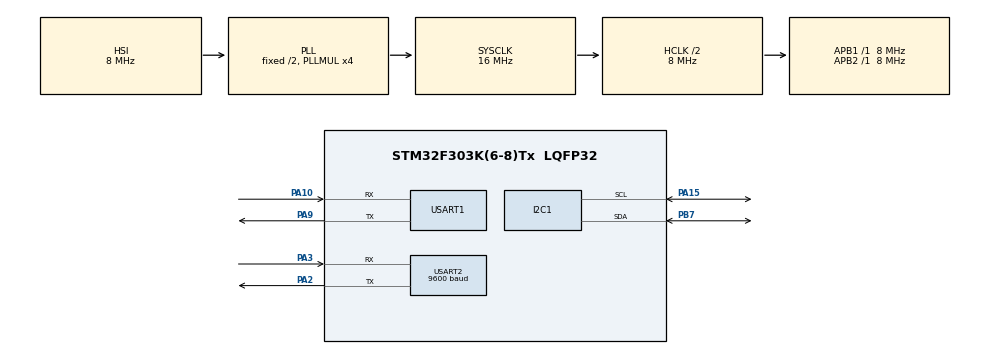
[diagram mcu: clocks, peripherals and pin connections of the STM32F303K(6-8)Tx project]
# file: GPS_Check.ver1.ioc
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Mcu.Family=STM32F3
Mcu.Name=STM32F303K(6-8)Tx
Mcu.Package=LQFP32
NVIC.PriorityGroup=NVIC_PRIORITYGROUP_4
PA0.Mode=SYS_WakeUp0
PA0.Signal=SYS_WKUP1
PA10.Mode=Asynchronous
PA10.Signal=USART1_RX
PA13.Mode=Trace_Asynchronous_SW
PA13.Signal=SYS_JTMS-SWDIO
PA14.Mode=Trace_Asynchronous_SW
PA14.Signal=SYS_JTCK-SWCLK
PA15.GPIO_Pu=GPIO_PULLUP
PA15.Mode=I2C
PA15.Signal=I2C1_SCL
PA2.Mode=Asynchronous
PA2.Signal=USART2_TX
PA3.Mode=Asynchronous
PA3.Signal=USART2_RX
PA9.Mode=Asynchronous
PA9.Signal=USART1_TX
PB3.Mode=Trace_Asynchronous_SW
PB3.Signal=SYS_JTDO-TRACESWO
PB7.GPIO_Pu=GPIO_PULLUP
PB7.Mode=I2C
PB7.Signal=I2C1_SDA
ProjectManager.HeapSize=0x200
ProjectManager.StackSize=0x400
ProjectManager.TargetToolchain=STM32CubeIDE
RCC.AHBCLKDivider=RCC_SYSCLK_DIV2
RCC.AHBFreq_Value=8000000
RCC.APB1Freq_Value=8000000
RCC.APB1TimFreq_Value=8000000
RCC.APB2Freq_Value=8000000
RCC.APB2TimFreq_Value=8000000
RCC.CortexFreq_Value=8000000
RCC.HCLKFreq_Value=8000000
RCC.HSE_VALUE=8000000
RCC.HSI_VALUE=8000000
RCC.PLLMUL=RCC_PLL_MUL4
RCC.SYSCLKFreq_VALUE=16000000
RCC.SYSCLKSourceVirtual=RCC_SYSCLKSOURCE_PLLCLK
USART1.VirtualMode-Asynchronous=VM_ASYNC
USART2.BaudRate=9600
USART2.VirtualMode-Asynchronous=VM_ASYNC
board=custom

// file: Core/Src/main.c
/* USER CODE BEGIN Header */
/**
  ******************************************************************************
  * @file           : main.c
  * @brief          : Main program body
  ******************************************************************************
  * @attention
  *
  * Copyright (c) 2024 STMicroelectronics.
  * All rights reserved.
  *
  * This software is licensed under terms that can be found in the LICENSE file
  * in the root directory of this software component.
  * If no LICENSE file comes with this software, it is provided AS-IS.
  *
  ******************************************************************************
  */
/* USER CODE END Header */
#include "main.h"
#include "stdio.h"
#include "string.h"
#include "stdlib.h"
#include "stdint.h"
#include <math.h>
/* USER CODE BEGIN Includes */
#include <bmx055.h>
/* USER CODE END Includes */

I2C_HandleTypeDef hi2c1;

UART_HandleTypeDef huart1;
UART_HandleTypeDef huart2;

void SystemClock_Config(void);
static void MX_GPIO_Init(void);
static void MX_USART1_UART_Init(void);
static void MX_USART2_UART_Init(void);
static void MX_I2C1_Init(void);
/* USER CODE BEGIN PFP */
float extractFloat(const char *str);
void getLatitudeLongitude(uint8_t *data, float *latitude, float *longitude);
void wirelessSend(int fpState, double latitude, double longitude, float acX, float acY, float acZ, int16_t gyX, int16_t gyY, int16_t gyZ, int16_t mgX, int16_t mgY, int16_t mgZ);
/* USER CODE END PFP */

/* USER CODE BEGIN 0 */

int fpState = 0;

//GPS parameter settings
#define BUFF_SIZE   (200)
#define CHAR_CR     (0x0d)
#define TRUE        (1)
#define FALSE       (0)

uint8_t flagRcved; /* receive finish flag */
uint16_t rcvLength; /* receive data number */
uint8_t rcvBuffer[BUFF_SIZE]; /* receive buffer */
char sndBuffer[BUFF_SIZE]; /* transmit buffer */

//GPS parameters
int isPosUpdated = 0;
double longtitude, latitude;
double time, gpsAltitude, times;
double Minutes;

int processGPSdata(char *rawData);

void HAL_UART_RxCpltCallback(UART_HandleTypeDef *huart) {
	flagRcved = TRUE; /* receive finish flag callback */
}
/* USER CODE END 0 */

int main(void)
{

  /* MCU Configuration--------------------------------------------------------*/

  /* Reset of all peripherals, Initializes the Flash interface and the Systick. */
  HAL_Init();

  /* USER CODE BEGIN Init */
  longtitude = -1.0;
  	latitude = -1.0;
  	gpsAltitude = -1.0;
  	times = -1.0;
  	Minutes = -1.0;
  /* USER CODE END Init */

  /* Configure the system clock */
  SystemClock_Config();

  /* Initialize all configured peripherals */
  MX_GPIO_Init();
  MX_USART1_UART_Init();
  MX_USART2_UART_Init();
  MX_I2C1_Init();
  /* USER CODE BEGIN 2 */

  fpState = HAL_GPIO_ReadPin(GPIOB, GPIO_PIN_4);

  initBMX055();

  /* USER CODE END 2 */

  /* Infinite loop */
  while (1)
  {

    /* USER CODE BEGIN 3 */
	printf("uho\n");
	fpState = HAL_GPIO_ReadPin(GPIOB, GPIO_PIN_4);
	printf("FlightPin = %d\n", fpState);

	int16_t accelData[3];
	float acc[3] = { 0, 0, 0 };
	int16_t gyroData[3];
	int16_t magData[3];
	if (readBMX055DataAccel(accelData)) {
			  acc[0] = accelData[0]*0.001;
			  acc[1] = accelData[1]*0.001;
			  acc[2] = accelData[2]*0.001;
			  printf("Accelerometer: X=%.2f, Y=%.2f, Z=%.2f\n", acc[0], acc[1], acc[2]);
	  }

	  // Read gyroscope data
	  if (readBMX055DataGyro(gyroData)) {
		  printf("Gyroscope: X=%d, Y=%d, Z=%d\n", gyroData[0], gyroData[1], gyroData[2]);
	  }

	  // Read magnetometer data
	  if (readBMX055DataMag(magData)) {
		  printf("Magnetometer: X=%d, Y=%d, Z=%d\n", magData[0], magData[1], magData[2]);
	  }
	  isPosUpdated = 0;

	  		do {
	  			/* interrupt start */
	  			HAL_UART_Receive_IT(&huart2, rcvBuffer, 1);

	  			/* wait for interrupt */
	  			while (flagRcved == FALSE) {
	  				;
	  			}

	  			sndBuffer[rcvLength] = rcvBuffer[0];
	  			rcvLength++;
	  			flagRcved = FALSE;
	  		} while ((rcvBuffer[0] != CHAR_CR) && (rcvLength < BUFF_SIZE));

	  		rcvLength = 0;

	  		//__HAL_UART_DISABLE_IT(&huart2, UART_IT_RXNE);
	  		isPosUpdated = processGPSdata(sndBuffer);

	  		printf("%.8lf, %.8lf\n",latitude ,longtitude);

  }

	wirelessSend(fpState, latitude, longitude, acc[0], acc[1], acc[2], gyroData[0], gyroData[1], gyroData[2], magData[0], magData[1], magData[2]);

  /* USER CODE END 3 */
}

void SystemClock_Config(void)
{
  RCC_OscInitTypeDef RCC_OscInitStruct = {0};
  RCC_ClkInitTypeDef RCC_ClkInitStruct = {0};
  RCC_PeriphCLKInitTypeDef PeriphClkInit = {0};

  /** Initializes the RCC Oscillators according to the specified parameters
  * in the RCC_OscInitTypeDef structure.
  */
  RCC_OscInitStruct.OscillatorType = RCC_OSCILLATORTYPE_HSI;
  RCC_OscInitStruct.HSIState = RCC_HSI_ON;
  RCC_OscInitStruct.HSICalibrationValue = RCC_HSICALIBRATION_DEFAULT;
  RCC_OscInitStruct.PLL.PLLState = RCC_PLL_ON;
  RCC_OscInitStruct.PLL.PLLSource = RCC_PLLSOURCE_HSI;
  RCC_OscInitStruct.PLL.PLLMUL = RCC_PLL_MUL4;
  if (HAL_RCC_OscConfig(&RCC_OscInitStruct) != HAL_OK)
  {
    Error_Handler();
  }

  /** Initializes the CPU, AHB and APB buses clocks
  */
  RCC_ClkInitStruct.ClockType = RCC_CLOCKTYPE_HCLK|RCC_CLOCKTYPE_SYSCLK
                              |RCC_CLOCKTYPE_PCLK1|RCC_CLOCKTYPE_PCLK2;
  RCC_ClkInitStruct.SYSCLKSource = RCC_SYSCLKSOURCE_PLLCLK;
  RCC_ClkInitStruct.AHBCLKDivider = RCC_SYSCLK_DIV2;
  RCC_ClkInitStruct.APB1CLKDivider = RCC_HCLK_DIV1;
  RCC_ClkInitStruct.APB2CLKDivider = RCC_HCLK_DIV1;

  if (HAL_RCC_ClockConfig(&RCC_ClkInitStruct, FLASH_LATENCY_0) != HAL_OK)
  {
    Error_Handler();
  }
  PeriphClkInit.PeriphClockSelection = RCC_PERIPHCLK_USART1|RCC_PERIPHCLK_I2C1;
  PeriphClkInit.Usart1ClockSelection = RCC_USART1CLKSOURCE_PCLK1;
  PeriphClkInit.I2c1ClockSelection = RCC_I2C1CLKSOURCE_HSI;
  if (HAL_RCCEx_PeriphCLKConfig(&PeriphClkInit) != HAL_OK)
  {
    Error_Handler();
  }
}

static void MX_I2C1_Init(void)
{

  hi2c1.Instance = I2C1;
  hi2c1.Init.Timing = 0x2000090E;
  hi2c1.Init.OwnAddress1 = 0;
  hi2c1.Init.AddressingMode = I2C_ADDRESSINGMODE_7BIT;
  hi2c1.Init.DualAddressMode = I2C_DUALADDRESS_DISABLE;
  hi2c1.Init.OwnAddress2 = 0;
  hi2c1.Init.OwnAddress2Masks = I2C_OA2_NOMASK;
  hi2c1.Init.GeneralCallMode = I2C_GENERALCALL_DISABLE;
  hi2c1.Init.NoStretchMode = I2C_NOSTRETCH_DISABLE;
  if (HAL_I2C_Init(&hi2c1) != HAL_OK)
  {
    Error_Handler();
  }

  /** Configure Analogue filter
  */
  if (HAL_I2CEx_ConfigAnalogFilter(&hi2c1, I2C_ANALOGFILTER_ENABLE) != HAL_OK)
  {
    Error_Handler();
  }

  /** Configure Digital filter
  */
  if (HAL_I2CEx_ConfigDigitalFilter(&hi2c1, 0) != HAL_OK)
  {
    Error_Handler();
  }

}

static void MX_USART1_UART_Init(void)
{

  huart1.Instance = USART1;
  huart1.Init.BaudRate = 38400;
  huart1.Init.WordLength = UART_WORDLENGTH_8B;
  huart1.Init.StopBits = UART_STOPBITS_1;
  huart1.Init.Parity = UART_PARITY_NONE;
  huart1.Init.Mode = UART_MODE_TX_RX;
  huart1.Init.HwFlowCtl = UART_HWCONTROL_NONE;
  huart1.Init.OverSampling = UART_OVERSAMPLING_16;
  huart1.Init.OneBitSampling = UART_ONE_BIT_SAMPLE_DISABLE;
  huart1.AdvancedInit.AdvFeatureInit = UART_ADVFEATURE_NO_INIT;
  if (HAL_UART_Init(&huart1) != HAL_OK)
  {
    Error_Handler();
  }

}

static void MX_USART2_UART_Init(void)
{

  huart2.Instance = USART2;
  huart2.Init.BaudRate = 9600;
  huart2.Init.WordLength = UART_WORDLENGTH_8B;
  huart2.Init.StopBits = UART_STOPBITS_1;
  huart2.Init.Parity = UART_PARITY_NONE;
  huart2.Init.Mode = UART_MODE_TX_RX;
  huart2.Init.HwFlowCtl = UART_HWCONTROL_NONE;
  huart2.Init.OverSampling = UART_OVERSAMPLING_16;
  huart2.Init.OneBitSampling = UART_ONE_BIT_SAMPLE_DISABLE;
  huart2.AdvancedInit.AdvFeatureInit = UART_ADVFEATURE_NO_INIT;
  if (HAL_UART_Init(&huart2) != HAL_OK)
  {
    Error_Handler();
  }

}

static void MX_GPIO_Init(void)
{

  /* GPIO Ports Clock Enable */
  __HAL_RCC_GPIOA_CLK_ENABLE();
  __HAL_RCC_GPIOB_CLK_ENABLE();

}

/* USER CODE BEGIN 4 */
int _write(int file, char *ptr, int len) {
	int DataIdx;
	for (DataIdx = 0; DataIdx < len; DataIdx++) {
		ITM_SendChar(*ptr++);
	}
	return len;
}

float extractFloat(const char *str) {
	return atof(str);
}

int processGPSdata(char *rawData) {
	if (rawData[1] == '$') { // Determine if the information received is from GPS
		const char delimeter[] = ",";
		char *token = strtok(rawData, delimeter);
		char *dataIdentifier = "\n$GPGGA";

		uint8_t processOrder = 0;

		while (token != NULL) { // Process data until all tokens are processed

			if (processOrder == 0) { // Check the prefix
				if (strcmp(token, dataIdentifier) != 0) { // If the prefix is not 'GPGGA'
					return 0;
				}
			}

			processOrder++;
			token = strtok(NULL, delimeter); // Split data by comma

			switch (processOrder) {
			case 1:
				time = strtod(token, NULL) + 9000.0;
				break;
			case 2:
				Minutes = modf(strtod(token, NULL) / 100.0, &latitude);
				latitude = latitude + Minutes * 10.0 / 6.0;
				//printf("lat = %f\n", latitude);
				break;
			case 3:
				if (strcmp(token, "S") == 0) {
					latitude = latitude * -1.0;
				}
				break;
			case 4:
				Minutes = modf(strtod(token, NULL) / 100.0, &longtitude);
				longtitude = longtitude + Minutes * 10.0 / 6.0;
				//printf("log = %f\n", longtitude);
				break;
			case 5:
				if (strcmp(token, "W") == 0) {
					longtitude = longtitude * -1.0;
				}
				break;
			case 9:
				gpsAltitude = strtof(token, NULL);
				break;
			case 10:
				if (strcmp(token, "M") != 0) {
					//altitude = altitude * -1.0;
				}
				break;
			}

			return 1;
		}
	}

	return 0;
}

//IM920sl用
void wirelessSend(int fpState, double latitude, double longitude, float acX, float acY, float acZ, int16_t gyX, int16_t gyY, int16_t gyZ, int16_t mgX, int16_t mgY, int16_t mgZ) {
	char transmitBuffer[40];

    //snprintf関数で、IM用のコマンド・全ての値を結合しtransmitBufferに保存
    snprintf(transmitBuffer, sizeof(transmitBuffer), "TXDA F%d,la%.8lf,lo%.8lf,a%.2f,%.2f,%.2f,g%d,%d,%d,m%d,%d,%d\r\n", fpState, latitude, longitude, acX, acY, acZ, gyX, gyY, gyZ, mgX, mgY, mgZ);

    /***※補足１************************************************
    以下の２種類(1)(2)も用意しました～　実際使いやすいやつを！

    (1) センサ値以外なし　ver
    snprintf(transmitBuffer, sizeof(transmitBuffer), "TXDA %d,%.8lf,%.8lf,%.2f,%.2f,%.2f,%d,%d,%d,%d,%d,%d\r\n", fpState, latitude, longitude, acX, acY, acZ, gyX, gyY, gyZ, mgX, mgY, mgZ);

    (2)  ご丁寧　ver   ※char transmitBuffer[40];　=> 40じゃ足りないかも
    snprintf(transmitBuffer, sizeof(transmitBuffer), "TXDA FP %d,la %.8lf,lo %.8lf,accX %.2f,accY %.2f,accZ %.2f,gyrX %d,gyrY %d,gyrZ %d,mgnX %d,mgnY %d,mgnZ %d\r\n", fpState, latitude, longitude, acX, acY, acZ, gyX, gyY, gyZ, mgX, mgY, mgZ);

    *******************************************************/

    /***※補足２************************************************
    このsnprintf関数、いろいろな書式の変数を扱うため、フォーマット系のエラーが怖い　byおぐら

    STM32マイコン・対応するコンパイラ,デバッカにおいて変数をどう扱うのか詳細を知らないのですが、
    もし、このsnprintf文で構文エラーが出た場合でフォーマット指定がうまくいってなさそうな場合、、

    intX_tやuintX_tなどの変数について<inttypes.h>というヘッダファイルの中でいろいろ定義があるそうです
    https://docs.oracle.com/cd/E19957-01/805-7885/z40000221c7c/index.html
    ここの情報が使えるかもしれないのですが、使えるかもしれないのでここに書いときます
    *******************************************************/

    HAL_UART_Transmit(&huart1, (uint8_t*) transmitBuffer,strlen(transmitBuffer), 3000);

}

/* USER CODE END 4 */

void Error_Handler(void)
{
  __disable_irq();
  while (1)
  {
  }
}
